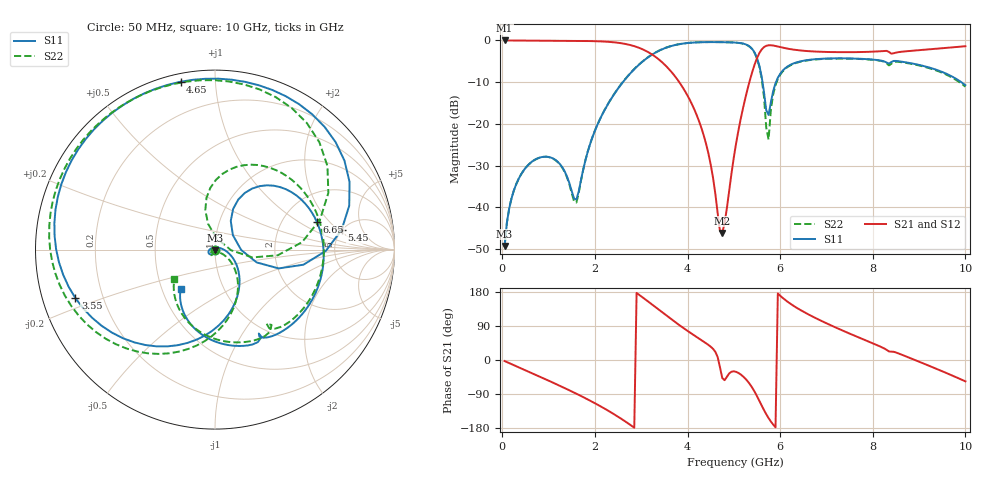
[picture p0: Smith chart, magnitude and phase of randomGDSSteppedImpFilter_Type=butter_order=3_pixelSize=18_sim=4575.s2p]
! freq	dB(S11)	phase(S11)	dB(S12)	phase(S12)
!  dB(S21)	phase(S21)	dB(S22)	phase(S22)
!S-par simulation data
#  GHz  S  DB  R 50
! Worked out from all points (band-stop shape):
!   200 points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, 50 MHz to 10 GHz, reference 50 ohm
!   highest |S21| = -0.01 dB at 50 MHz (marker M1); lowest = -46.1 dB at 4.75 GHz (marker M2)
!   |S21| within 3 dB of the highest: start of sweep to 3.183 GHz; 5.553 GHz to 8.38 GHz (2.828 GHz wide, 40.6 % of centre) (the widest 2 of 3)
!   lowest |S11| = -49.2 dB at 50 MHz (marker M3), VSWR 1.01, Z = 50 - j0.347 ohm
!   |S11| at or under -10 dB: start of sweep to 2.603 GHz; 5.619 GHz to 5.909 GHz (290.7 MHz wide, 5.04 % of centre); 9.913 GHz to end of sweep
!   |S22| runs from -49.3 to -0.4 dB; largest |S21 - S12| = 0
!   S11 on the Smith chart (normalised r, x): 50 MHz: 1.00, -0.01; 3.55 GHz: 0.10, -0.17; 4.65 GHz: 0.04, +0.81; 5.45 GHz: 4.96, +2.22; 6.65 GHz: 3.10, +1.47; 10 GHz: 0.62, -0.30
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0.05  -49.19 -88.2  -0.01 -2.8  -0.01 -2.8  -49.27 -86.4
0.2  -37.79 -100.7  -0.02 -10.9  -0.02 -10.9  -37.77 -98.2
0.55  -29.91 -123.9  -0.04 -29.8  -0.04 -29.8  -29.96 -116.6
1.15  -28.63 -165.8  -0.08 -62.9  -0.08 -62.9  -28.69 -142.6
1.6  -38.13 81.8  -0.11 -89.0  -0.11 -89.0  -38.83 -79.7
1.75  -30.77 17.6  -0.13 -98.1  -0.13 -98.1  -30.82 -33.7
2.65  -9.35 -73.6  -0.82 -161.7  -0.82 -161.7  -9.31 -72.5
3.4  -2.38 -146.0  -4.73 130.7  -4.73 130.7  -2.35 -136.3
3.55  -1.69 -160.8  -6.28 116.7  -6.28 116.7  -1.66 -149.8
4.25  -0.44 135.2  -19.38 56.3  -19.38 56.3  -0.43 151.8
4.65  -0.40 101.6  -41.30 8.0  -41.30 8.0  -0.40 120.6
4.75  -0.42 93.1  -46.09 -47.5  -46.09 -47.5  -0.41 112.5
5.05  -0.53 65.3  -24.56 -31.3  -24.56 -31.3  -0.54 85.4
5.45  -2.93 8.9  -5.73 -84.0  -5.73 -84.0  -3.02 26.6
5.6  -8.64 -16.5  -2.17 -119.9  -2.17 -119.9  -9.10 -5.2
5.75  -17.86 39.0  -1.16 -153.3  -1.16 -153.3  -23.75 83.0
5.95  -8.94 62.2  -1.45 175.7  -1.45 175.7  -9.26 94.4
6.65  -4.61 15.3  -2.60 117.8  -2.60 117.8  -4.69 39.0
6.7  -4.55 12.5  -2.63 114.6  -2.63 114.6  -4.62 35.8
7.5  -4.31 -27.6  -2.81 69.7  -2.81 69.7  -4.36 -11.1
8.35  -5.56 -62.4  -2.75 22.6  -2.75 22.6  -5.98 -55.1
10  -10.72 -131.1  -1.39 -56.3  -1.39 -56.3  -11.09 -144.2
